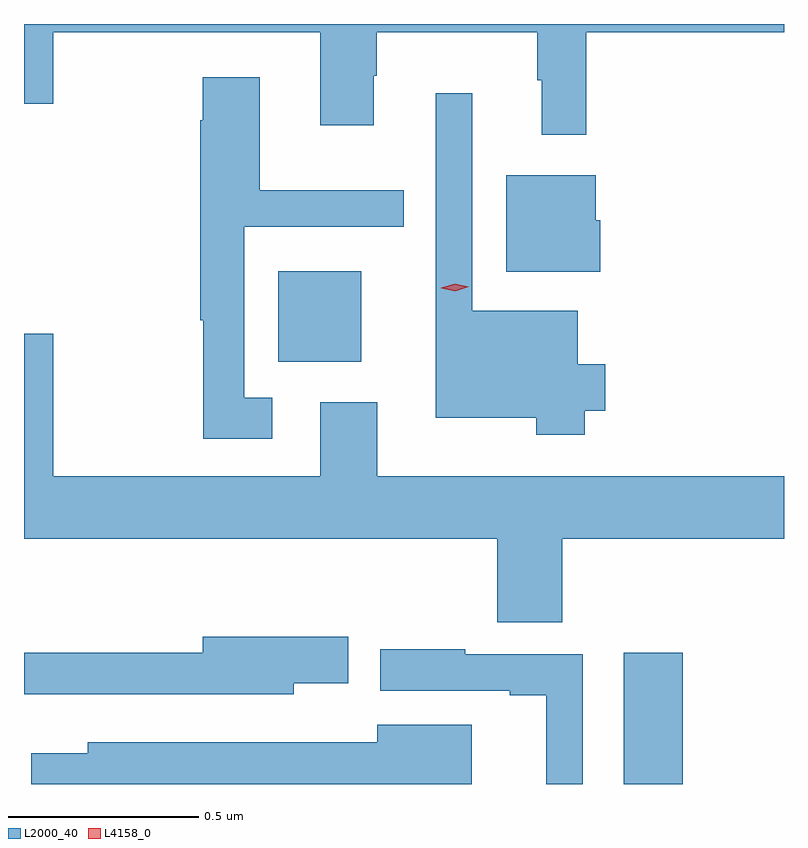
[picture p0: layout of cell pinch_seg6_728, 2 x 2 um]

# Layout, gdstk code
import gdstk
lib = gdstk.Library(unit=1e-6, precision=1e-09)
def R(c, l, rs):  # rectangles x0, y0, x1, y1
    for r in rs: c.add(gdstk.rectangle(r[:2], r[2:], *l))
def P(c, l, *ps):  # polygons
    for p in ps: c.add(gdstk.Polygon(p, *l))
L2000_40 = (2000, 40)
L4158_0 = (4158, 0)

pinch_seg6_728 = lib.new_cell('pinch_seg6_728')
R(pinch_seg6_728, L2000_40, [(502.337,945.358,502.493,945.703), (501.428,946.469,501.646,946.708)])
P(pinch_seg6_728, L2000_40, [(502.238,947.336),(502.759,947.336),(502.759,947.358),(500.759,947.358),(500.759,947.148),(500.836,947.148),(500.836,947.336),(501.539,947.336),(501.539,947.091),(501.679,947.091),(501.679,947.222),(501.687,947.222),(501.687,947.336),(502.11,947.336),(502.11,947.21),(502.121,947.21),(502.121,947.067),(502.238,947.067)],
  [(501.412,946.375),(501.339,946.375),(501.339,946.824),(501.758,946.824),(501.758,946.921),(501.379,946.921),(501.379,947.218),(501.23,947.218),(501.23,947.105),(501.223,947.105),(501.223,946.578),(501.231,946.578),(501.231,946.266),(501.412,946.266)],
  [(502.235,946.34),(502.289,946.34),(502.289,946.462),(502.216,946.462),(502.216,946.603),(501.939,946.603),(501.939,947.176),(501.843,947.176),(501.843,946.699),(501.842,946.699),(501.842,946.322),(502.107,946.322),(502.107,946.277),(502.235,946.277)],
  [(502.276,946.842),(502.264,946.842),(502.264,946.96),(502.028,946.96),(502.028,946.706),(502.276,946.706)],
  [(502.175,946.004),(502.759,946.004),(502.759,946.168),(501.688,946.168),(501.688,946.363),(501.539,946.363),(501.539,946.168),(500.836,946.168),(500.836,946.543),(500.759,946.543),(500.759,946.004),(502.004,946.004),(502.004,945.784),(502.175,945.784)],
  [(501.469,945.623),(501.612,945.623),(501.612,945.745),(501.23,945.745),(501.23,945.703),(500.759,945.703),(500.759,945.594),(501.469,945.594)],
  [(502.23,945.699),(501.92,945.699),(501.92,945.712),(501.697,945.712),(501.697,945.603),(502.037,945.603),(502.037,945.591),(502.133,945.591),(502.133,945.358),(502.23,945.358)],
  [(501.937,945.514),(501.689,945.514),(501.689,945.468),(500.927,945.468),(500.927,945.439),(500.778,945.439),(500.778,945.358),(501.937,945.358)])
P(pinch_seg6_728, L4158_0, [(501.894,946.655),(501.857,946.663),(501.857,946.664),(501.857,946.664),(501.893,946.675),(501.929,946.667),(501.929,946.666),(501.929,946.666)])

lib.write_gds('pinch_seg6_728.gds')
